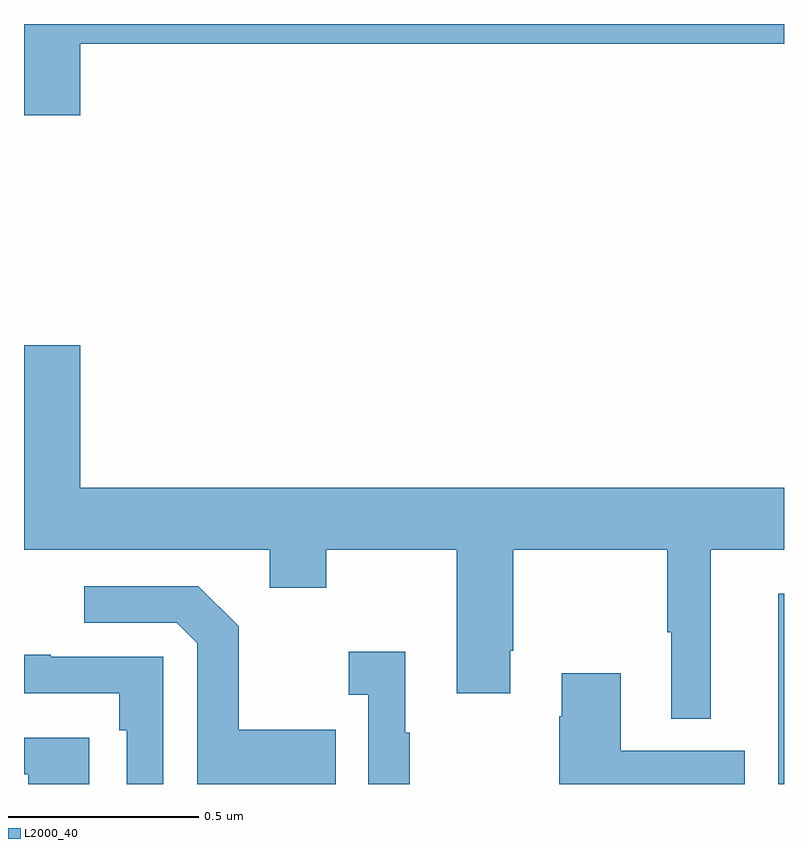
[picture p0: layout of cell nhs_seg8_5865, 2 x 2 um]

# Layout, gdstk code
import gdstk
lib = gdstk.Library(unit=1e-6, precision=1e-09)
def R(c, l, rs):  # rectangles x0, y0, x1, y1
    for r in rs: c.add(gdstk.rectangle(r[:2], r[2:], *l))
def P(c, l, *ps):  # polygons
    for p in ps: c.add(gdstk.Polygon(p, *l))
L2000_40 = (2000, 40)

nhs_seg8_5865 = lib.new_cell('nhs_seg8_5865')
R(nhs_seg8_5865, L2000_40, [(190.985,1099.9,191,1100.401)])
P(nhs_seg8_5865, L2000_40, [(189.148,1101.848),(191,1101.848),(191,1101.9),(189,1101.9),(189,1101.66),(189.148,1101.66)],
  [(190.807,1100.516),(191,1100.516),(191,1100.68),(189.148,1100.68),(189.148,1101.055),(189,1101.055),(189,1100.516),(189.647,1100.516),(189.647,1100.417),(189.795,1100.417),(189.795,1100.516),(190.139,1100.516),(190.139,1100.139),(190.279,1100.139),(190.279,1100.251),(190.287,1100.251),(190.287,1100.516),(190.693,1100.516),(190.693,1100.3),(190.703,1100.3),(190.703,1100.072),(190.807,1100.072)],
  [(189.821,1100.043),(189.565,1100.043),(189.565,1100.315),(189.459,1100.421),(189.159,1100.421),(189.159,1100.325),(189.402,1100.325),(189.456,1100.271),(189.456,1099.9),(189.821,1099.9)],
  [(190.015,1100.035),(190.003,1100.035),(190.003,1100.248),(189.855,1100.248),(189.855,1100.135),(189.906,1100.135),(189.906,1099.9),(190.015,1099.9)],
  [(189.366,1100.235),(189.071,1100.235),(189.071,1100.24),(189,1100.24),(189,1100.139),(189.25,1100.139),(189.25,1100.042),(189.27,1100.042),(189.27,1099.9),(189.366,1099.9)],
  [(190.897,1099.987),(190.57,1099.987),(190.57,1100.191),(190.415,1100.191),(190.415,1100.078),(190.408,1100.078),(190.408,1099.9),(190.897,1099.9)],
  [(189.172,1100.022),(189,1100.022),(189,1099.926),(189.011,1099.926),(189.011,1099.9),(189.172,1099.9)])

lib.write_gds('nhs_seg8_5865.gds')
